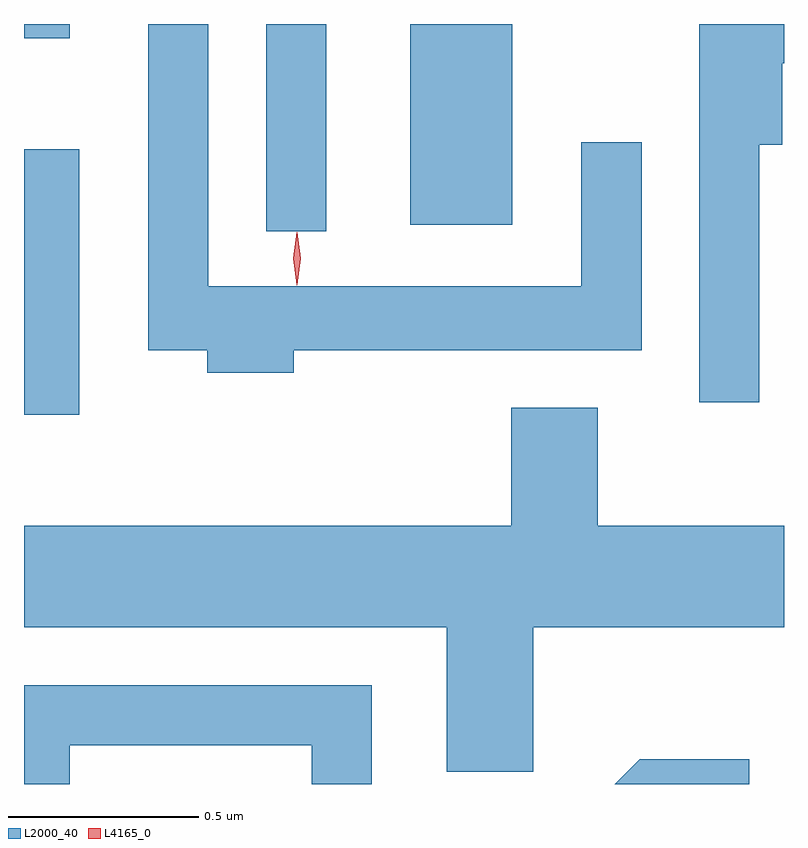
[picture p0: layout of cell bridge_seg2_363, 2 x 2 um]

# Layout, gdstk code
import gdstk
lib = gdstk.Library(unit=1e-6, precision=1e-09)
def R(c, l, rs):  # rectangles x0, y0, x1, y1
    for r in rs: c.add(gdstk.rectangle(r[:2], r[2:], *l))
def P(c, l, *ps):  # polygons
    for p in ps: c.add(gdstk.Polygon(p, *l))
L2000_40 = (2000, 40)
L4165_0 = (4165, 0)

bridge_seg2_363 = lib.new_cell('bridge_seg2_363')
R(bridge_seg2_363, L2000_40, [(407.749,1024.456,407.894,1025.154), (408.386,1024.938,408.544,1025.484), (408.766,1024.956,409.034,1025.484), (407.749,1025.446,407.869,1025.484)])
P(bridge_seg2_363, L2000_40, [(408.459,1024.626),(409.374,1024.626),(409.374,1025.173),(409.216,1025.173),(409.216,1024.794),(408.234,1024.794),(408.234,1025.484),(408.076,1025.484),(408.076,1024.626),(408.231,1024.626),(408.231,1024.566),(408.459,1024.566)],
  [(409.684,1025.166),(409.744,1025.166),(409.744,1025.381),(409.749,1025.381),(409.749,1025.484),(409.526,1025.484),(409.526,1024.488),(409.684,1024.488)],
  [(409.089,1023.896),(409.749,1023.896),(409.749,1024.164),(409.259,1024.164),(409.259,1024.474),(409.031,1024.474),(409.031,1024.164),(407.749,1024.164),(407.749,1023.896),(408.861,1023.896),(408.861,1023.516),(409.089,1023.516)],
  [(407.869,1023.586),(408.506,1023.586),(408.506,1023.484),(408.664,1023.484),(408.664,1023.744),(407.749,1023.744),(407.749,1023.484),(407.869,1023.484)],
  [(409.658,1023.549),(409.369,1023.549),(409.304,1023.484),(409.658,1023.484)])
P(bridge_seg2_363, L4165_0, [(408.467,1024.797),(408.467,1024.798),(408.457,1024.867),(408.467,1024.936),(408.467,1024.936),(408.468,1024.936),(408.477,1024.867),(408.468,1024.798)],
  [(408.467,1024.8),(408.467,1024.8),(408.457,1024.866),(408.467,1024.933),(408.467,1024.933),(408.468,1024.933),(408.477,1024.866),(408.468,1024.8)])

lib.write_gds('bridge_seg2_363.gds')
